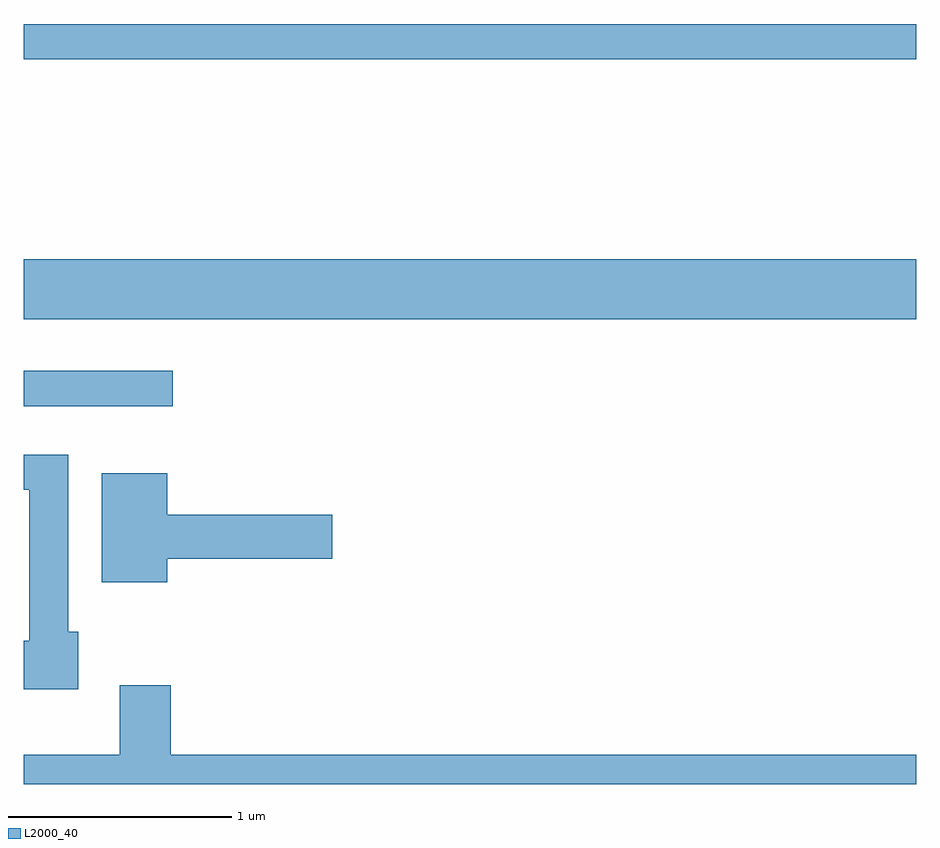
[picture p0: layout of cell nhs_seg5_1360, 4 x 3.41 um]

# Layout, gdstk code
import gdstk
lib = gdstk.Library(unit=1e-6, precision=1e-09)
def R(c, l, rs):  # rectangles x0, y0, x1, y1
    for r in rs: c.add(gdstk.rectangle(r[:2], r[2:], *l))
def P(c, l, *ps):  # polygons
    for p in ps: c.add(gdstk.Polygon(p, *l))
L2000_40 = (2000, 40)

nhs_seg5_1360 = lib.new_cell('nhs_seg5_1360')
R(nhs_seg5_1360, L2000_40, [(225.611,1429.766,226.278,1429.924), (225.611,1430.156,229.611,1430.424), (225.611,1431.321,229.611,1431.479)])
P(nhs_seg5_1360, L2000_40, [(225.854,1428.754),(225.809,1428.754),(225.809,1429.549),(225.611,1429.549),(225.611,1429.391),(225.636,1429.391),(225.636,1428.714),(225.611,1428.714),(225.611,1428.496),(225.854,1428.496)],
  [(226.254,1429.081),(226.994,1429.081),(226.994,1429.279),(226.254,1429.279),(226.254,1429.464),(225.961,1429.464),(225.961,1428.976),(226.254,1428.976)],
  [(229.611,1428.204),(226.269,1428.204),(226.269,1428.514),(226.041,1428.514),(226.041,1428.204),(225.611,1428.204),(225.611,1428.072),(229.611,1428.072)])

lib.write_gds('nhs_seg5_1360.gds')
